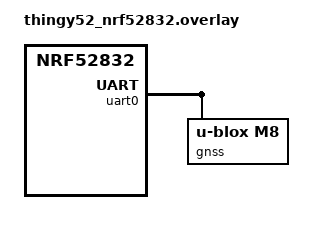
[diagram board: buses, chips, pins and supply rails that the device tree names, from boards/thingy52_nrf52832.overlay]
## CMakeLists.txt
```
# SPDX-License-Identifier: Apache-2.0

cmake_minimum_required(VERSION 3.20.0)
set(mcuboot_key_file ${CMAKE_CURRENT_SOURCE_DIR}/mykey.pem)
set(mcuboot_CONFIG_BOOT_SIGNATURE_KEY_FILE "\${mcuboot_key_file}\"")
find_package(Zephyr REQUIRED HINTS $ENV{ZEPHYR_BASE})
project(pf)

include_directories(${CMAKE_CURRENT_SOURCE_DIR}/../../mylib)

target_sources(app PRIVATE
    ${CMAKE_CURRENT_SOURCE_DIR}/src/main.c
    ${CMAKE_CURRENT_SOURCE_DIR}/../../mylib/thingy52_gas_colour.c
)
```

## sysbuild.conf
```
# Enable the bootloader when building with sysbuild.
SB_CONFIG_BOOTLOADER_MCUBOOT=y
```

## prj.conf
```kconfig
CONFIG_UART_CONSOLE=n
CONFIG_RTT_CONSOLE=y
CONFIG_USE_SEGGER_RTT=y
CONFIG_CBPRINTF_FP_SUPPORT=y

CONFIG_BT=y
CONFIG_BT_BROADCASTER=y
CONFIG_BT_OBSERVER=y
CONFIG_BT_EXT_ADV=y
CONFIG_BT_CTLR_ADV_DATA_LEN_MAX=191
CONFIG_BT_CTLR_SCAN_DATA_LEN_MAX=1650
CONFIG_BT_EXT_SCAN_BUF_SIZE=1650
CONFIG_BT_BUF_EVT_RX_COUNT=16
CONFIG_BT_CTLR_RX_BUFFERS=9

CONFIG_GPIO=y

# CONFIG_GNSS=y
# CONFIG_GNSS_SATELLITES=y

# CONFIG_LOG=y
# CONFIG_LOG_BUFFER_SIZE=8192
# CONFIG_GNSS_DUMP_TO_LOG=y
# CONFIG_GNSS_DUMP_TO_LOG_BUF_SIZE=1024
# CONFIG_GNSS_LOG_LEVEL_DBG=y
# CONFIG_MODEM_MODULES_LOG_LEVEL_DBG=y

# CONFIG_SERIAL=y
# CONFIG_UART_INTERRUPT_DRIVEN=y
# CONFIG_UART_NRFX=y
# CONFIG_UART_ASYNC_API=y
```

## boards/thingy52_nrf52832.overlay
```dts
/ {
	aliases {
		gnss = &gnss;
	};
};

&uart0 {
	gnss: gnss {
		status = "okay";
		compatible = "u-blox,m8";
		uart-baudrate = <115200>;
	};
};
```

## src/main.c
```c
#include <zephyr/kernel.h>
#include <zephyr/settings/settings.h>
#include <zephyr/bluetooth/bluetooth.h>
#include <zephyr/bluetooth/conn.h>
#include <zephyr/bluetooth/hci.h>
#include <zephyr/sys/byteorder.h>
#include <zephyr/logging/log.h>
#include <thingy52_gas_colour.h>
#include <string.h>
#include <myconfig.h>

#define NUM_OF_SENSORS 		2
#define NUM_OF_SENSOR_BYTES 6
#define NUM_OF_LOC_BYTES 	9
#define NUM_OF_ID 			2
#define BYTES_PER_SENSOR 	(NUM_OF_SENSOR_BYTES + NUM_OF_LOC_BYTES + NUM_OF_ID)
#define TOTAL_BYTES 		(BYTES_PER_SENSOR * 2 + UUID_SIZE)

#define LAT 0
#define LON 1

static const struct bt_data ad[] = {
    BT_DATA_BYTES(BT_DATA_FLAGS, (BT_LE_AD_GENERAL | BT_LE_AD_NO_BREDR)),
    BT_DATA_BYTES(BT_DATA_UUID16_ALL,
        0x0f, 0x18)  
};

static const char* sensor_uuid = SENSOR_UUID;
static const char* mobile_uuid = MOBILE_UUID;
static const char* base_uuid = BASE_UUID;

uint8_t recv[NUM_OF_SENSORS][NUM_OF_SENSOR_BYTES + 1] = {0};
int32_t locations[NUM_OF_SENSORS][2] = {0};
int32_t currentlocation[2] = {0};
uint8_t stopped[NUM_OF_SENSORS] = {0};

struct k_poll_signal signal;
K_MUTEX_DEFINE(loc_signal);

static bool parse_gps(struct bt_data *data, void *user_data) {
    if (data->type == BT_DATA_MANUFACTURER_DATA && data->data_len >= 10) {
        const uint8_t *mdata = data->data;
        uint16_t comp_id = sys_get_le16(mdata);
        if (comp_id == 0xFFFF && (data->data_len == 16)) {
            int32_t lat_i = sys_get_le32(mdata + 2);
            int32_t lon_i = sys_get_le32(mdata + 6);
            float lat = lat_i / 1e6f;
            float lon = lon_i / 1e6f;
            printk("[GPS] lat=%.6f, lon=%.6f\n", (double) lat, (double) lon);
            /* store latest GPS into locations[0] if desired */
            currentlocation[LAT] = lat_i;
            currentlocation[LON] = lon_i;
        }
    }
    return true;
}

static void scan_recv(const struct bt_le_scan_recv_info *info,
		      struct net_buf_simple *buf) {

	if (buf->len < (2 + UUID_SIZE)) {
        return;
    }

	char name[7];
	for (int i = 2; i < (2 + UUID_SIZE); i++) {
        name[i - 2] = buf->data[i];
    }
    name[6] = '\0';

    if (strcmp(name, sensor_uuid) == 0) {
		// Get id
		int id = buf->data[2 + UUID_SIZE];
		if (id < NUM_OF_SENSORS) {
			// Get data
			for (int j = 9; j < (9 + NUM_OF_SENSOR_BYTES); j++) {
				recv[id][j - 9] = buf->data[j];
			}
			// Update location
			if (info->rssi > (-50)) {
				// k_poll_signal_raise(&signal, id);
				locations[id][LAT] = currentlocation[LAT];
				locations[id][LON] = currentlocation[LON];
			}
		}
	} else if (strcmp(name, base_uuid) == 0) {
		// get stopped status from base
		for (int i = 8; i < buf->len; i += 11) {
			int id = buf->data[i];
			stopped[id] = buf->data[i + 1];
		}
	} else {
		bt_data_parse(buf, parse_gps, NULL);
	}
}

static struct bt_le_scan_cb scan_callbacks = {
	.recv = scan_recv,
};

int start_adv(struct bt_le_ext_adv *adv) {
	int err = bt_le_ext_adv_start(adv, BT_LE_EXT_ADV_START_DEFAULT);
	if (err) {
		printk("Failed to start extended advertising (err %d)\n", err);
	} else {
		printk("Starting Extended Advertising\n");
	}
	return err;
}

int stop_adv(struct bt_le_ext_adv *adv) {
	int err = bt_le_ext_adv_stop(adv);
	if (err) {
		printk("Failed to stop extended advertising\n");
	} else {
		printk("Stopped Extended Advertising\n");
	}
	return err;
}

int main(void) {
	// k_poll_signal_init(&signal);

	if (thingy52_rgb_init() != 0) {
        printk("RGB LED couldn't be initialised\n");
        return -1;
    } else {
        printk("RGB LED initialised\n");
        thingy52_rgb_colour_set(BLUE);
    }

	/* Initialize the Bluetooth Subsystem */
	int err = bt_enable(NULL);
	if (err) {
		printk("Bluetooth init failed (err %d)\n", err);
		return 0;
	}

	printk("Bluetooth initialized\n");

	struct bt_le_scan_param scan_param = {
		.type       = BT_LE_SCAN_TYPE_PASSIVE,
		.options    = BT_LE_SCAN_OPT_NONE,
		.interval   = BT_GAP_SCAN_FAST_INTERVAL,
		.window     = BT_GAP_SCAN_FAST_WINDOW,
	};

	bt_le_scan_cb_register(&scan_callbacks);

	err = bt_le_scan_start(&scan_param, NULL);
	if (err) {
		printk("Start scanning failed (err %d)\n", err);
		return 0;
	}
	printk("Started scanning...\n");

	struct bt_le_ext_adv *adv;

    /* Create a connectable advertising set */
	err = bt_le_ext_adv_create(BT_LE_EXT_ADV_CONN, NULL, &adv);
	if (err) {
		printk("Failed to create advertising set (err %d)\n", err);
		return err;
	}

	/* Set advertising data to have complete local name set */
	err = bt_le_ext_adv_set_data(adv, ad, ARRAY_SIZE(ad), NULL, 0);
	if (err) {
		printk("Failed to set advertising data (err %d)\n", err);
		return 0;
	}

	start_adv(adv);

	uint8_t allData[TOTAL_BYTES] = {0};

	for (int i = 0; i < UUID_SIZE; i++) {
        allData[i] = mobile_uuid[i];
    }

	while (1) {
		stop_adv(adv);

		for (int i = 0; i < NUM_OF_SENSORS; i++) {
			int index = (i * BYTES_PER_SENSOR) + UUID_SIZE;
			// Get id and state
			allData[index] = i;
			allData[index + 1] = stopped[i];

			// Get lat
			allData[index + 2] = locations[i][LAT] & 0xFF;
			allData[index + 3] = (locations[i][LAT] >> 8) & 0xFF;
			allData[index + 4] = (locations[i][LAT] >> 16) & 0xFF;
			allData[index + 5] = (locations[i][LAT] >> 24) & 0xFF;

			// Get lon
			allData[index + 6] = locations[i][LON] & 0xFF;
			allData[index + 7] = (locations[i][LON] >> 8) & 0xFF;
			allData[index + 8] = (locations[i][LON] >> 16) & 0xFF;
			allData[index + 9] = (locations[i][LON] >> 24) & 0xFF;

			// Get sensor data
			for (int j = 0; j < NUM_OF_SENSOR_BYTES; j++) {
				allData[j + (index + 10)] = recv[i][j];
			}
		}

		printk("Sent: ");
		for (int i = 0; i < TOTAL_BYTES; i++) {
			printk("%d ", allData[i]);
		}
		printk("\n");

		struct bt_data ad1[] = {
            BT_DATA(BT_DATA_MANUFACTURER_DATA, allData, TOTAL_BYTES),
        };

		/* Set advertising data to have complete local name set */
		err = bt_le_ext_adv_set_data(adv, ad1, ARRAY_SIZE(ad1), NULL, 0);
		if (err) {
			printk("Failed to set advertising data (err %d)\n", err);
			return 0;
		}

		start_adv(adv);

        k_msleep(1000);
	}

}
 
```

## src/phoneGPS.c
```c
#include <zephyr/kernel.h>
#include <zephyr/settings/settings.h>
#include <zephyr/bluetooth/bluetooth.h>
#include <zephyr/bluetooth/conn.h>
#include <zephyr/bluetooth/hci.h>
#include <zephyr/sys/byteorder.h>
#include <string.h>

#define NUM_OF_SENSORS 		2
#define NUM_OF_SENSOR_BYTES 6
#define BYTES_PER_SENSOR 	NUM_OF_SENSOR_BYTES + 8
#define TOTAL_BYTES 		BYTES_PER_SENSOR * 2

#define LAT 0
#define LON 1

static const struct bt_data ad[] = {
    BT_DATA_BYTES(BT_DATA_FLAGS, (BT_LE_AD_GENERAL | BT_LE_AD_NO_BREDR)),
    BT_DATA_BYTES(BT_DATA_UUID16_ALL,
        0x0f, 0x18)  
};

static const char* sensor_mac[NUM_OF_SENSORS] = {
	"C9:2B:FC:6A:D3:C0",
	"D1:31:A2:EB:63:2A"
};

uint8_t recv[NUM_OF_SENSORS][NUM_OF_SENSOR_BYTES] = {0};
float locations[NUM_OF_SENSORS][2] = {0};

static bool parse_gps(struct bt_data *data, void *user_data)
{
    if (data->type == BT_DATA_MANUFACTURER_DATA && data->data_len >= 10) {
        const uint8_t *mdata = data->data;
        uint16_t comp_id = sys_get_le16(mdata);
        if (comp_id == 0xFFFF) {
            int32_t lat_i = sys_get_le32(mdata + 2);
            int32_t lon_i = sys_get_le32(mdata + 6);
            float lat = lat_i / 1e6f;
            float lon = lon_i / 1e6f;
            printk("[GPS] lat=%.6f, lon=%.6f\n", lat, lon);
            /* store latest GPS into locations[0] if desired */
            locations[0][LAT] = lat;
            locations[0][LON] = lon;
        }
    }
    return true;
}

static void device_found(const bt_addr_le_t *addr, int8_t rssi, uint8_t type,
	struct net_buf_simple *ad) {

	char addr_str[BT_ADDR_LE_STR_LEN];
	char mac_addr[18];

	bt_addr_le_to_str(addr, addr_str, sizeof(addr_str));
    strncpy(mac_addr, addr_str, 17);
    mac_addr[17] = '\0';

	bt_data_parse(ad, parse_gps, NULL);

	for (int i = 0; i < NUM_OF_SENSORS; i++) {
		if (strcmp(mac_addr, sensor_mac[i]) == 0) {
			if (ad->len >= 5 + NUM_OF_SENSOR_BYTES) {
                memcpy(recv[i], &ad->data[5], NUM_OF_SENSOR_BYTES);
            }
			break;
		}
	}
}

int main(void) {
	/* Initialize the Bluetooth Subsystem */
	int err = bt_enable(NULL);
	if (err) {
		printk("Bluetooth init failed (err %d)\n", err);
		return 0;
	}

	printk("Bluetooth initialized\n");

	struct bt_le_scan_param scan_param = {
		.type       = BT_LE_SCAN_TYPE_PASSIVE,
		.options    = BT_LE_SCAN_OPT_NONE,
		.interval   = BT_GAP_SCAN_FAST_INTERVAL,
		.window     = BT_GAP_SCAN_FAST_WINDOW,
	};

	err = bt_le_scan_start(&scan_param, device_found);
	if (err) {
		printk("Start scanning failed (err %d)\n", err);
		return 0;
	}
	printk("Started scanning...\n");

	/* Start advertising */
	// err = bt_le_adv_start(BT_LE_ADV_NCONN_IDENTITY, ad, ARRAY_SIZE(ad),
	// 	sd, ARRAY_SIZE(sd));
    err = bt_le_adv_start(BT_LE_ADV_NCONN_IDENTITY, ad, ARRAY_SIZE(ad),
		NULL, 0);

	if (err) {
		printk("Advertising failed to start (err %d)\n", err);
		return 0;
	}
	printk("Started advertising\n");

	uint8_t allData[TOTAL_BYTES];

	while (1) {
		memset(allData, 0, sizeof(allData));
        for (int i = 0; i < NUM_OF_SENSORS; i++) {
            /* Insert GPS or sensor data into allData array */
            int base = i * BYTES_PER_SENSOR;
            /* pack latitude (2 bytes int16 + 2 bytes frac16) */
            int16_t lat_whole = (int16_t)locations[i][LAT];
            int32_t lat_frac = (int32_t)((locations[i][LAT] - lat_whole) * 1e6);
            sys_put_le16(lat_whole, &allData[base]);
            sys_put_le16((int16_t)(lat_frac & 0xFFFF), &allData[base + 2]);
            /* pack longitude */
            int16_t lon_whole = (int16_t)locations[i][LON];
            int32_t lon_frac = (int32_t)((locations[i][LON] - lon_whole) * 1e6);
            sys_put_le16(lon_whole, &allData[base + 4]);
            sys_put_le16((int16_t)(lon_frac & 0xFFFF), &allData[base + 6]);
            /* copy sensor raw data */
            memcpy(&allData[base + 8], recv[i], NUM_OF_SENSOR_BYTES);
        }

		struct bt_data adv[] = {
            BT_DATA(BT_DATA_MANUFACTURER_DATA, allData, TOTAL_BYTES),
        };

        err = bt_le_adv_update_data(adv, ARRAY_SIZE(adv), NULL, 0);
        // err = bt_le_adv_update_data(adv, ARRAY_SIZE(adv), sd, ARRAY_SIZE(sd));

        if (err) {
            printk("adv_update failed: %d\n", err);
        }

        k_msleep(1000);
	}
}


 
```
